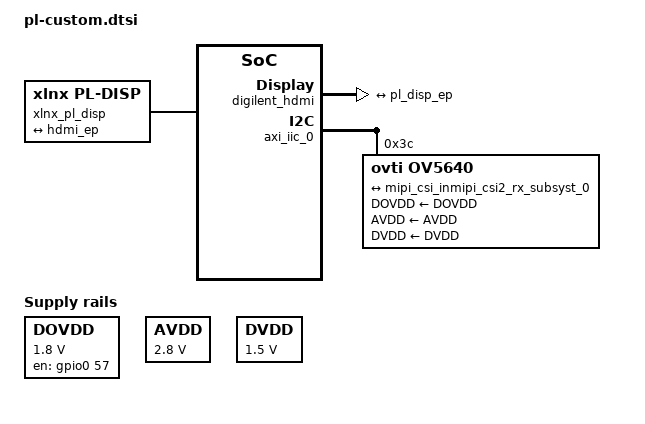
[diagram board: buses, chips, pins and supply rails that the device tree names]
#include <dt-bindings/gpio/gpio.h>
#include <dt-bindings/media/xilinx-vip.h>

&amba {
	pcam_clk: pcam_clk {
		compatible = "fixed-clock";
		#clock-cells = <0>;
		clock-frequency = <12000000>;
	};

        DOVDD: fixed_regulator_DOVDD@0 {
                compatible = "regulator-fixed";
                regulator-name = "DOVDD_reg";
                regulator-min-microvolt = <1800000>;
                regulator-max-microvolt = <1800000>;
                gpio = <&gpio0 57 GPIO_ACTIVE_HIGH>;
                startup-delay-us = <50000>;
                enable-active-high;
        };

        AVDD: fixed_regulator_AVDD@1 {
                compatible = "regulator-fixed";
                regulator-name = "AVDD_reg";
                regulator-min-microvolt = <2800000>;
                regulator-max-microvolt = <2800000>;

        };

        DVDD: fixed_regulator_DVDD@2 {
                compatible = "regulator-fixed";
                regulator-name = "DVDD_reg";
                regulator-min-microvolt = <1500000>;
                regulator-max-microvolt = <1500000>;
        };

        digilent_hdmi {
                compatible = "digilent,hdmi";

                clocks = <&axi_dynclk_0>;
                clock-names = "clk";

                digilent,edid-i2c = <&axi_iic_1>;
                digilent,fmax = <150000>;

                port@0 {
                        reg = <0>;
                        hdmi_ep: enddpoint {
                                remote-endpoint = <&pl_disp_ep>;
                        };
                };
        };

        xlnx_pl_disp {
                compatible = "xlnx,pl-disp";

                dmas = <&v_frmbuf_rd_0 0>;
                dma-names = "dma0";
                xlnx,vformat = "BG24";
                xlnx,bridge = <&v_tc_0>;

                port@0 {
                        reg = <0>;
                        pl_disp_ep: endpoint {
                                remote-endpoint = <&hdmi_ep>;
                        };
                };
        };
};


&axi_iic_0 {
	ov5640: camera@3c {
		compatible = "ovti,ov5640";
		reg = <0x3c>;
		clock-names = "xclk";
		clocks = <&pcam_clk>;
                DOVDD-supply = <&DOVDD>; /* 1.8v */
                AVDD-supply = <&AVDD>;  /* 2.8v */
                DVDD-supply = <&DVDD>;  /* 1.5v */
		rotation = <180>;

		port {
			ov5640_out: endpoint {
				remote-endpoint = <&mipi_csi_inmipi_csi2_rx_subsyst_0>;
				data-lanes = <1 2>;
			};
		};
	};
};

&mipi_csi2_rx_subsyst_0 {
	video-reset-gpios = <&gpio0 54 GPIO_ACTIVE_LOW>;
	xlnx,csi-pxl-format = <0x1e>;
};

&mipi_csi_inmipi_csi2_rx_subsyst_0 {
	remote-endpoint = <&ov5640_out>;
};

&v_proc_ss_0 {
        compatible = "xlnx,v-vpss-csc";
	reset-gpios = <&gpio0 55 GPIO_ACTIVE_LOW>;
};

&csc_port0v_proc_ss_0 {
        xlnx,video-format = <XVIP_VF_YUV_422>;
};

&csc_port1v_proc_ss_0 {
        xlnx,video-format = <XVIP_VF_RBG>;
};

&v_frmbuf_wr_0 {
	reset-gpios = <&gpio0 56 GPIO_ACTIVE_LOW>;
};


&axi_dynclk_0 {
        compatible = "dglnt,axi-dynclk";
        #clock-cells = <0>;
};

&v_frmbuf_rd_0 {
        reset-gpios = <&gpio0 58 GPIO_ACTIVE_LOW>;
};

&v_tc_0 {
        compatible = "xlnx,bridge-v-tc-6.1";
        xlnx,pixels-per-clock = <1>;
};

